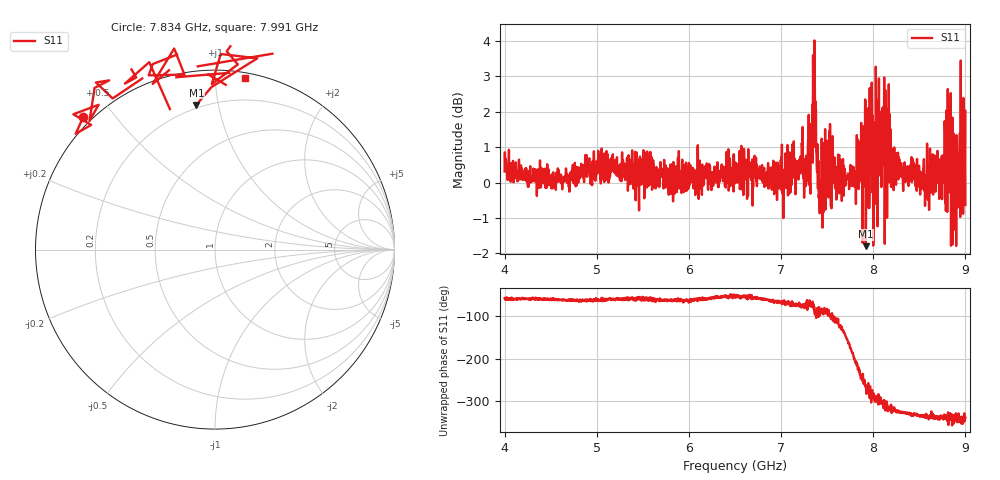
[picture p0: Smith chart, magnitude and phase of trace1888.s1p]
! Created with skrf 1.8.0 (http://scikit-rf.org).
# Hz S RI R 50.0
!freq ReS11 ImS11
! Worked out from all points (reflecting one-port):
!   1601 points, 4 GHz to 9 GHz, reference 50 ohm
!   lowest |S11| = -1.8 dB at 7.919 GHz (marker M1), VSWR 9.70, Z = 9.07 + j43.2 ohm
!   phase of S11 starts at -57 deg and turns -282 deg over the sweep
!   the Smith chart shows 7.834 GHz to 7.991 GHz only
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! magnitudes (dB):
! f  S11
! 4 GHz  0.3
! 4.625 GHz  -0.2
! 5.25 GHz  0.1
! 5.875 GHz  0.1
! 6.5 GHz  0.1
! 7.125 GHz  1.1
! 7.294 GHz  1.2
! 7.353 GHz  2.6
! 7.372 GHz  2.3
! 7.4 GHz  -0.2
! 7.425 GHz  -0.3
! 7.509 GHz  0.2
! 7.591 GHz  0.1
! 7.75 GHz  0.1
! 7.919 GHz  -1.8
! 7.944 GHz  2.1
! 7.962 GHz  2.7
! 8.022 GHz  -0.6
! 8.05 GHz  2.3
! 8.069 GHz  0.6
! 8.097 GHz  0.7
! 8.216 GHz  0.8
! 8.375 GHz  0.2
! 8.612 GHz  0.2
! 8.816 GHz  1.3
! 8.869 GHz  -1.1
! 8.972 GHz  0.1
! 9 GHz  -0.6
